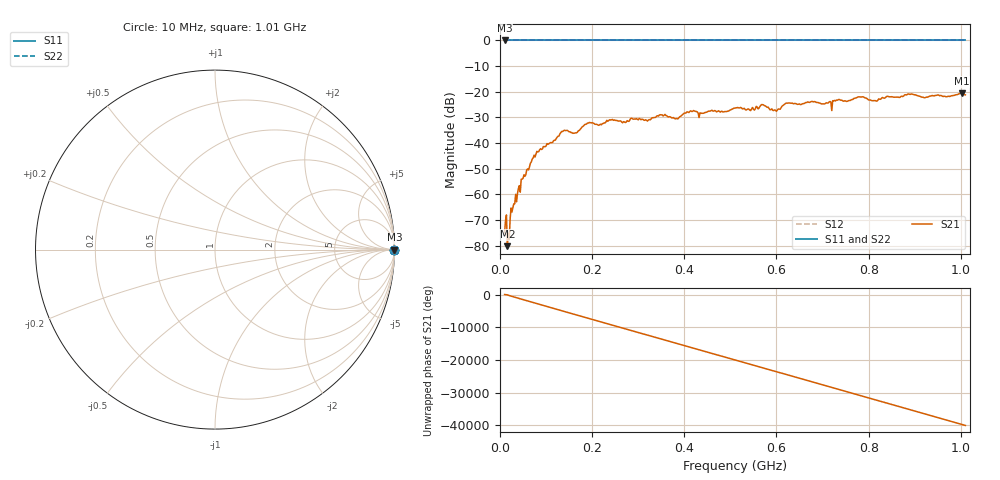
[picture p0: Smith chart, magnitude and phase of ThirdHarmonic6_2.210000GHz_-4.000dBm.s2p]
! 8/17/2025 2:19:43 AM
! C:\ANRITSUVNA\TEMP\TEMP.S2P
! CHANNEL.1
! TR.MEASUREMENT
! RAW.DATA
! RF.CORRECTION.OFF
! AVERAGING.OFF
! IF.BANDWIDTH: 5KHZ
! SWEEPTYPE:  FREQ.SWEEP(Linear)
! Reference Plane Port Info
! PORT:  PORT1  PORT2
! DISTANCE:  0  m  0  m
! TIME:  0  s  0  s
! PHASE.OFFSET:  0  deg.  0  deg.
! LOSS:  0  dB  0  dB
! REF.LOSS:  0  dB  0  dB
! REF.FREQ:  0  Hz  0  Hz
! Power Info
! POWER:  -20  dBm  -20  dBm
! EFF.POWER:  -20  dBm  -20  dBm
! SOURCE.ATTEN:  0  dB  0  dB
! TEST.ATTEN:  0  dB  0  dB
# GHZ S RI R 50.0
! FREQ.GHZ  S11RE  S11IM  S21RE  S21IM  S12RE  S12IM  S22RE  S22IM
!; PortSelection: Port_12
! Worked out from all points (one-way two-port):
!   501 points, 10 MHz to 1.01 GHz, reference 50 ohm
!   highest |S21| = -20.54 dB at 1.002 GHz (marker M1); lowest = -80.2 dB at 16 MHz (marker M2)
!   lowest |S11| = 0.0 dB at 10 MHz (marker M3)
!   |S11| at or under -10 dB: nowhere
!   |S22| runs from 0.0 to 0.0 dB; largest |S21 - S12| = 1.1
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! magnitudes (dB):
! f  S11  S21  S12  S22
! 10 MHz  0.0  -75.0  0.0  0.0
! 16 MHz  0.0  -80.2  0.0  0.0
! 20 MHz  0.0  -77.7  0.0  0.0
! 26 MHz  0.0  -66.9  0.0  0.0
! 44 MHz  0.0  -59.2  0.0  0.0
! 76 MHz  0.0  -45.5  0.0  0.0
! 136 MHz  0.0  -35.5  0.0  0.0
! 162 MHz  0.0  -36.1  0.0  0.0
! 178 MHz  0.0  -33.7  0.0  0.0
! 194 MHz  0.0  -32.0  0.0  0.0
! 344 MHz  0.0  -29.5  0.0  0.0
! 382 MHz  0.0  -30.5  0.0  0.0
! 416 MHz  0.0  -27.7  0.0  0.0
! 436 MHz  0.0  -28.4  0.0  0.0
! 510 MHz  0.0  -26.3  0.0  0.0
! 570 MHz  0.0  -25.0  0.0  0.0
! 596 MHz  0.0  -27.1  0.0  0.0
! 624 MHz  0.0  -24.4  0.0  0.0
! 678 MHz  0.0  -23.8  0.0  0.0
! 844 MHz  0.0  -21.9  0.0  0.0
! 1.002 GHz  0.0  -20.5  0.0  0.0
! 1.01 GHz  0.0  -21.2  0.0  0.0
